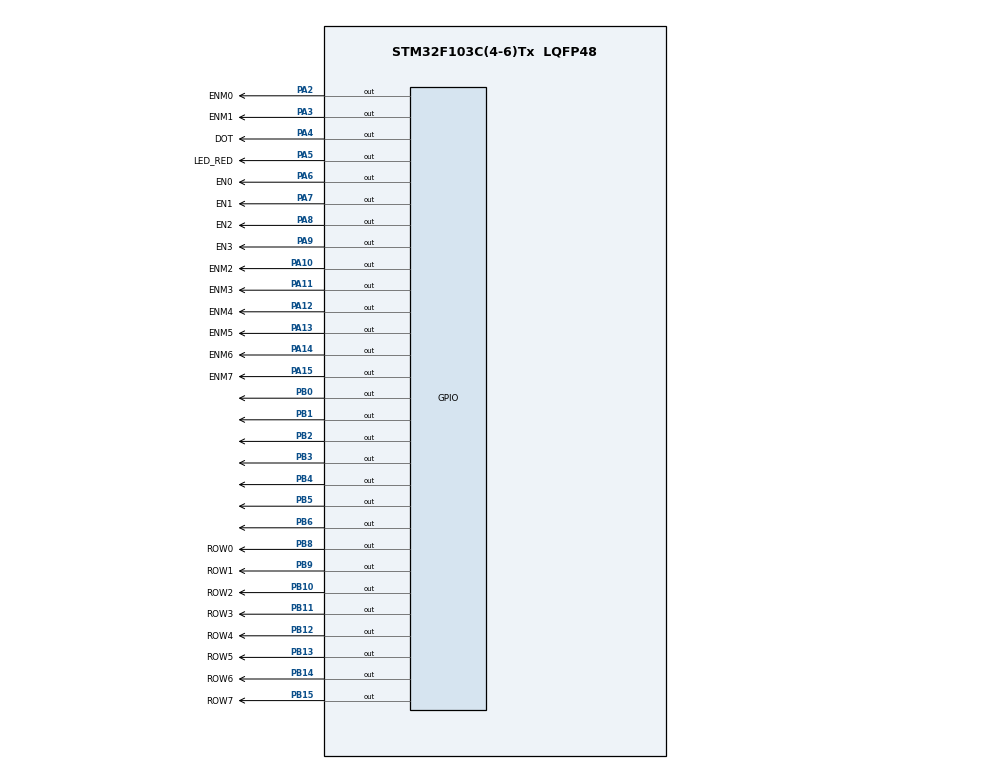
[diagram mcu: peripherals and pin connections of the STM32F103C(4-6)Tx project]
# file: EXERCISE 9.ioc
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Mcu.Family=STM32F1
Mcu.Name=STM32F103C(4-6)Tx
Mcu.Package=LQFP48
NVIC.PriorityGroup=NVIC_PRIORITYGROUP_4
NVIC.TIM2_IRQn=true\:0\:0\:false\:false\:true\:true\:true
PA10.GPIO_Label=ENM2
PA10.Signal=GPIO_Output
PA11.GPIO_Label=ENM3
PA11.Signal=GPIO_Output
PA12.GPIO_Label=ENM4
PA12.Signal=GPIO_Output
PA13.GPIO_Label=ENM5
PA13.Signal=GPIO_Output
PA14.GPIO_Label=ENM6
PA14.Signal=GPIO_Output
PA15.GPIO_Label=ENM7
PA15.Signal=GPIO_Output
PA2.GPIO_Label=ENM0
PA2.Signal=GPIO_Output
PA3.GPIO_Label=ENM1
PA3.Signal=GPIO_Output
PA4.GPIO_Label=DOT
PA4.Signal=GPIO_Output
PA5.GPIO_Label=LED_RED
PA5.Signal=GPIO_Output
PA6.GPIO_Label=EN0
PA6.Signal=GPIO_Output
PA7.GPIO_Label=EN1
PA7.Signal=GPIO_Output
PA8.GPIO_Label=EN2
PA8.Signal=GPIO_Output
PA9.GPIO_Label=EN3
PA9.Signal=GPIO_Output
PB0.Signal=GPIO_Output
PB1.Signal=GPIO_Output
PB10.GPIO_Label=ROW2
PB10.Signal=GPIO_Output
PB11.GPIO_Label=ROW3
PB11.Signal=GPIO_Output
PB12.GPIO_Label=ROW4
PB12.Signal=GPIO_Output
PB13.GPIO_Label=ROW5
PB13.Signal=GPIO_Output
PB14.GPIO_Label=ROW6
PB14.Signal=GPIO_Output
PB15.GPIO_Label=ROW7
PB15.Signal=GPIO_Output
PB2.Signal=GPIO_Output
PB3.Signal=GPIO_Output
PB4.Signal=GPIO_Output
PB5.Signal=GPIO_Output
PB6.Signal=GPIO_Output
PB8.GPIO_Label=ROW0
PB8.Signal=GPIO_Output
PB9.GPIO_Label=ROW1
PB9.Signal=GPIO_Output
ProjectManager.HeapSize=0x200
ProjectManager.StackSize=0x400
ProjectManager.TargetToolchain=STM32CubeIDE
RCC.APB1Freq_Value=8000000
RCC.APB2Freq_Value=8000000
TIM2.Period=9
TIM2.Prescaler=7999
VP_SYS_VS_ND.Mode=No_Debug
VP_TIM2_VS_ClockSourceINT.Mode=Internal
board=custom

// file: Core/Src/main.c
/* USER CODE BEGIN Header */
/**
  ******************************************************************************
  * @file           : main.c
  * @brief          : Main program body
  ******************************************************************************
  * @attention
  *
  * <h2><center>&copy; Copyright (c) 2023 STMicroelectronics.
  * All rights reserved.</center></h2>
  *
  * This software component is licensed by ST under BSD 3-Clause license,
  * the "License"; You may not use this file except in compliance with the
  * License. You may obtain a copy of the License at:
  *                        opensource.org/licenses/BSD-3-Clause
  *
  ******************************************************************************
  */
/* USER CODE END Header */
#include "main.h"
#include "software_timer.h"

TIM_HandleTypeDef htim2;

void SystemClock_Config(void);
static void MX_GPIO_Init(void);
static void MX_TIM2_Init(void);

int main(void)
{

  /* MCU Configuration--------------------------------------------------------*/

  /* Reset of all peripherals, Initializes the Flash interface and the Systick. */
  HAL_Init();

  /* Configure the system clock */
  SystemClock_Config();

  /* Initialize all configured peripherals */
  MX_GPIO_Init();
  MX_TIM2_Init();
  /* USER CODE BEGIN 2 */
  HAL_TIM_Base_Start_IT(&htim2);
  /* USER CODE END 2 */

  /* Infinite loop */
  /* USER CODE BEGIN WHILE */
  void display7SEG(int num){
  	HAL_GPIO_WritePin(GPIOB, GPIO_PIN_0 | GPIO_PIN_1 | GPIO_PIN_2 | GPIO_PIN_3 | GPIO_PIN_4 | GPIO_PIN_5 | GPIO_PIN_6, SET);
  	switch (num) {
  		case 0:
  			HAL_GPIO_WritePin(GPIOB, GPIO_PIN_0 | GPIO_PIN_1 | GPIO_PIN_2 | GPIO_PIN_3 | GPIO_PIN_4 | GPIO_PIN_5, RESET);
  			break;
  		case 1:
  			HAL_GPIO_WritePin(GPIOB, GPIO_PIN_1 | GPIO_PIN_2, RESET);
  			break;
  		case 2:
  			HAL_GPIO_WritePin(GPIOB, GPIO_PIN_0 | GPIO_PIN_1 | GPIO_PIN_3 | GPIO_PIN_4 | GPIO_PIN_6, RESET);
  			break;
  		case 3:
  			HAL_GPIO_WritePin(GPIOB, GPIO_PIN_0 | GPIO_PIN_1 | GPIO_PIN_2 | GPIO_PIN_3 | GPIO_PIN_6, RESET);
  			break;
  		case 4:
  			HAL_GPIO_WritePin(GPIOB, GPIO_PIN_1 | GPIO_PIN_2 | GPIO_PIN_5 | GPIO_PIN_6, RESET);
  			break;
  		case 5:
  			HAL_GPIO_WritePin(GPIOB, GPIO_PIN_0 | GPIO_PIN_2 | GPIO_PIN_3 | GPIO_PIN_5 | GPIO_PIN_6, RESET);
  			break;
  		case 6:
  			HAL_GPIO_WritePin(GPIOB, GPIO_PIN_0 | GPIO_PIN_2 | GPIO_PIN_3 | GPIO_PIN_4 | GPIO_PIN_5 | GPIO_PIN_6, RESET);
  			break;
  		case 7:
  			HAL_GPIO_WritePin(GPIOB, GPIO_PIN_0 | GPIO_PIN_1 | GPIO_PIN_2, RESET);
  			break;
  		case 8:
  			HAL_GPIO_WritePin(GPIOB, GPIO_PIN_0 | GPIO_PIN_1 | GPIO_PIN_2 | GPIO_PIN_3 | GPIO_PIN_4 | GPIO_PIN_5 | GPIO_PIN_6, RESET);
  			break;
  		case 9:
  			HAL_GPIO_WritePin(GPIOB, GPIO_PIN_0 | GPIO_PIN_1 | GPIO_PIN_2 | GPIO_PIN_3 | GPIO_PIN_5 | GPIO_PIN_6, RESET);
  			break;
  	}
  }

  void clear(){
  	HAL_GPIO_WritePin(LED_RED_GPIO_Port, LED_RED_Pin, SET);
  	HAL_GPIO_WritePin(GPIOA, DOT_Pin, SET);
  	HAL_GPIO_WritePin(GPIOA, EN0_Pin | EN1_Pin | EN2_Pin | EN3_Pin , SET);
  	HAL_GPIO_WritePin(GPIOB, GPIO_PIN_All, SET);
  }

  int led_buffer[4] = {1 , 2 , 3 , 4};

  void update7SEG ( int index ) {
  	switch ( index ) {
  		case 0:
  			// Display the first 7 SEG with led_buffer [0]
  			HAL_GPIO_WritePin(GPIOA, EN1_Pin|EN2_Pin|EN3_Pin, GPIO_PIN_SET);
  			display7SEG(led_buffer[0]);
  			HAL_GPIO_WritePin(GPIOA, EN0_Pin, GPIO_PIN_RESET);
  			break ;
  		case 1:
  			// Display the second 7 SEG with led_buffer [1]
  			HAL_GPIO_WritePin(GPIOA, EN0_Pin|EN2_Pin|EN3_Pin, GPIO_PIN_SET);
  			display7SEG(led_buffer[1]);
  			HAL_GPIO_WritePin(GPIOA, EN1_Pin, GPIO_PIN_RESET);
  			break ;
  		case 2:
  			// Display the third 7 SEG with led_buffer [2]
  			HAL_GPIO_WritePin(GPIOA, EN1_Pin|EN0_Pin|EN3_Pin, GPIO_PIN_SET);
  			display7SEG(led_buffer[2]);
  			HAL_GPIO_WritePin(GPIOA, EN2_Pin, GPIO_PIN_RESET);
  			break ;
  		case 3:
  			// Display the forth 7 SEG with led_buffer [3]
  			HAL_GPIO_WritePin(GPIOA, EN1_Pin|EN2_Pin|EN0_Pin, GPIO_PIN_SET);
  			display7SEG(led_buffer[3]);
  			HAL_GPIO_WritePin(GPIOA, EN3_Pin, GPIO_PIN_RESET);
  			break ;
  		default :
  			break ;
  	}
  }
  int hour = 15, minute = 8, second = 50;
  void updateClockBuffer(){
	  led_buffer[0] = hour/10;
	  led_buffer[1] = hour%10;
	  led_buffer[2] = minute/10;
	  led_buffer[3] = minute%10;
  }
  int index_led_matrix = 0;
  uint8_t matrix_buffer[8] = {0x00, 0xFC, 0xFE, 0x33, 0x33, 0xfE, 0xFC, 0x00};
  void displayLEDMatrix(uint8_t input){
  	HAL_GPIO_WritePin(ROW0_GPIO_Port, ROW0_Pin, !(input >> 0 & 0x1));
  	HAL_GPIO_WritePin(ROW1_GPIO_Port, ROW1_Pin, !(input >> 1 & 0x1));
  	HAL_GPIO_WritePin(ROW2_GPIO_Port, ROW2_Pin, !(input >> 2 & 0x1));
  	HAL_GPIO_WritePin(ROW3_GPIO_Port, ROW3_Pin, !(input >> 3 & 0x1));
  	HAL_GPIO_WritePin(ROW4_GPIO_Port, ROW4_Pin, !(input >> 4 & 0x1));
  	HAL_GPIO_WritePin(ROW5_GPIO_Port, ROW5_Pin, !(input >> 5 & 0x1));
  	HAL_GPIO_WritePin(ROW6_GPIO_Port, ROW6_Pin, !(input >> 6 & 0x1));
  	HAL_GPIO_WritePin(ROW7_GPIO_Port, ROW7_Pin, !(input >> 7 & 0x1));
  }

  void updateLEDMatrix(int index){
      switch (index){
      	// each case corresponds to a column of its value, with RESET means that column is turned on.
          case 0:
          	HAL_GPIO_WritePin(ENM0_GPIO_Port, ENM0_Pin, GPIO_PIN_RESET);
          	HAL_GPIO_WritePin(ENM1_GPIO_Port, ENM1_Pin, GPIO_PIN_SET);
          	HAL_GPIO_WritePin(ENM2_GPIO_Port, ENM2_Pin, GPIO_PIN_SET);
          	HAL_GPIO_WritePin(ENM3_GPIO_Port, ENM3_Pin, GPIO_PIN_SET);
          	HAL_GPIO_WritePin(ENM4_GPIO_Port, ENM4_Pin, GPIO_PIN_SET);
          	HAL_GPIO_WritePin(ENM5_GPIO_Port, ENM5_Pin, GPIO_PIN_SET);
          	HAL_GPIO_WritePin(ENM6_GPIO_Port, ENM6_Pin, GPIO_PIN_SET);
          	HAL_GPIO_WritePin(ENM7_GPIO_Port, ENM7_Pin, GPIO_PIN_SET);
          	displayLEDMatrix(matrix_buffer[index]);
              break;
          case 1:
          	HAL_GPIO_WritePin(ENM0_GPIO_Port, ENM0_Pin, GPIO_PIN_SET);
          	HAL_GPIO_WritePin(ENM1_GPIO_Port, ENM1_Pin, GPIO_PIN_RESET);
          	HAL_GPIO_WritePin(ENM2_GPIO_Port, ENM2_Pin, GPIO_PIN_SET);
          	HAL_GPIO_WritePin(ENM3_GPIO_Port, ENM3_Pin, GPIO_PIN_SET);
          	HAL_GPIO_WritePin(ENM4_GPIO_Port, ENM4_Pin, GPIO_PIN_SET);
          	HAL_GPIO_WritePin(ENM5_GPIO_Port, ENM5_Pin, GPIO_PIN_SET);
          	HAL_GPIO_WritePin(ENM6_GPIO_Port, ENM6_Pin, GPIO_PIN_SET);
          	HAL_GPIO_WritePin(ENM7_GPIO_Port, ENM7_Pin, GPIO_PIN_SET);
          	displayLEDMatrix(matrix_buffer[index]);
              break;
          case 2:
          	HAL_GPIO_WritePin(ENM0_GPIO_Port, ENM0_Pin, GPIO_PIN_SET);
          	HAL_GPIO_WritePin(ENM1_GPIO_Port, ENM1_Pin, GPIO_PIN_SET);
          	HAL_GPIO_WritePin(ENM2_GPIO_Port, ENM2_Pin, GPIO_PIN_RESET);
          	HAL_GPIO_WritePin(ENM3_GPIO_Port, ENM3_Pin, GPIO_PIN_SET);
          	HAL_GPIO_WritePin(ENM4_GPIO_Port, ENM4_Pin, GPIO_PIN_SET);
          	HAL_GPIO_WritePin(ENM5_GPIO_Port, ENM5_Pin, GPIO_PIN_SET);
          	HAL_GPIO_WritePin(ENM6_GPIO_Port, ENM6_Pin, GPIO_PIN_SET);
          	HAL_GPIO_WritePin(ENM7_GPIO_Port, ENM7_Pin, GPIO_PIN_SET);
          	displayLEDMatrix(matrix_buffer[index]);
              break;
          case 3:
          	HAL_GPIO_WritePin(ENM0_GPIO_Port, ENM0_Pin, GPIO_PIN_SET);
          	HAL_GPIO_WritePin(ENM1_GPIO_Port, ENM1_Pin, GPIO_PIN_SET);
          	HAL_GPIO_WritePin(ENM2_GPIO_Port, ENM2_Pin, GPIO_PIN_SET);
          	HAL_GPIO_WritePin(ENM3_GPIO_Port, ENM3_Pin, GPIO_PIN_RESET);
          	HAL_GPIO_WritePin(ENM4_GPIO_Port, ENM4_Pin, GPIO_PIN_SET);
          	HAL_GPIO_WritePin(ENM5_GPIO_Port, ENM5_Pin, GPIO_PIN_SET);
          	HAL_GPIO_WritePin(ENM6_GPIO_Port, ENM6_Pin, GPIO_PIN_SET);
          	HAL_GPIO_WritePin(ENM7_GPIO_Port, ENM7_Pin, GPIO_PIN_SET);
          	displayLEDMatrix(matrix_buffer[index]);
              break;
          case 4:
          	HAL_GPIO_WritePin(ENM0_GPIO_Port, ENM0_Pin, GPIO_PIN_SET);
          	HAL_GPIO_WritePin(ENM1_GPIO_Port, ENM1_Pin, GPIO_PIN_SET);
          	HAL_GPIO_WritePin(ENM2_GPIO_Port, ENM2_Pin, GPIO_PIN_SET);
          	HAL_GPIO_WritePin(ENM3_GPIO_Port, ENM3_Pin, GPIO_PIN_SET);
          	HAL_GPIO_WritePin(ENM4_GPIO_Port, ENM4_Pin, GPIO_PIN_RESET);
          	HAL_GPIO_WritePin(ENM5_GPIO_Port, ENM5_Pin, GPIO_PIN_SET);
          	HAL_GPIO_WritePin(ENM6_GPIO_Port, ENM6_Pin, GPIO_PIN_SET);
          	HAL_GPIO_WritePin(ENM7_GPIO_Port, ENM7_Pin, GPIO_PIN_SET);
          	displayLEDMatrix(matrix_buffer[index]);
              break;
          case 5:
          	HAL_GPIO_WritePin(ENM0_GPIO_Port, ENM0_Pin, GPIO_PIN_SET);
          	HAL_GPIO_WritePin(ENM1_GPIO_Port, ENM1_Pin, GPIO_PIN_SET);
          	HAL_GPIO_WritePin(ENM2_GPIO_Port, ENM2_Pin, GPIO_PIN_SET);
          	HAL_GPIO_WritePin(ENM3_GPIO_Port, ENM3_Pin, GPIO_PIN_SET);
          	HAL_GPIO_WritePin(ENM4_GPIO_Port, ENM4_Pin, GPIO_PIN_SET);
          	HAL_GPIO_WritePin(ENM5_GPIO_Port, ENM5_Pin, GPIO_PIN_RESET);
          	HAL_GPIO_WritePin(ENM6_GPIO_Port, ENM6_Pin, GPIO_PIN_SET);
          	HAL_GPIO_WritePin(ENM7_GPIO_Port, ENM7_Pin, GPIO_PIN_SET);
          	displayLEDMatrix(matrix_buffer[index]);
              break;
          case 6:
          	HAL_GPIO_WritePin(ENM0_GPIO_Port, ENM0_Pin, GPIO_PIN_SET);
          	HAL_GPIO_WritePin(ENM1_GPIO_Port, ENM1_Pin, GPIO_PIN_SET);
          	HAL_GPIO_WritePin(ENM2_GPIO_Port, ENM2_Pin, GPIO_PIN_SET);
          	HAL_GPIO_WritePin(ENM3_GPIO_Port, ENM3_Pin, GPIO_PIN_SET);
          	HAL_GPIO_WritePin(ENM4_GPIO_Port, ENM4_Pin, GPIO_PIN_SET);
          	HAL_GPIO_WritePin(ENM5_GPIO_Port, ENM5_Pin, GPIO_PIN_SET);
          	HAL_GPIO_WritePin(ENM6_GPIO_Port, ENM6_Pin, GPIO_PIN_RESET);
          	HAL_GPIO_WritePin(ENM7_GPIO_Port, ENM7_Pin, GPIO_PIN_SET);
          	displayLEDMatrix(matrix_buffer[index]);
              break;
          case 7:
          	HAL_GPIO_WritePin(ENM0_GPIO_Port, ENM0_Pin, GPIO_PIN_SET);
          	HAL_GPIO_WritePin(ENM1_GPIO_Port, ENM1_Pin, GPIO_PIN_SET);
          	HAL_GPIO_WritePin(ENM2_GPIO_Port, ENM2_Pin, GPIO_PIN_SET);
          	HAL_GPIO_WritePin(ENM3_GPIO_Port, ENM3_Pin, GPIO_PIN_SET);
          	HAL_GPIO_WritePin(ENM4_GPIO_Port, ENM4_Pin, GPIO_PIN_SET);
          	HAL_GPIO_WritePin(ENM5_GPIO_Port, ENM5_Pin, GPIO_PIN_SET);
          	HAL_GPIO_WritePin(ENM6_GPIO_Port, ENM6_Pin, GPIO_PIN_SET);
          	HAL_GPIO_WritePin(ENM7_GPIO_Port, ENM7_Pin, GPIO_PIN_RESET);
          	displayLEDMatrix(matrix_buffer[index]);
              break;
          default:
              break;
      }
  }

  void clearENM(){
  	 HAL_GPIO_WritePin(GPIOA, ENM0_Pin|ENM1_Pin
  	                          |ENM2_Pin|ENM3_Pin|ENM4_Pin|ENM5_Pin
  	                          |ENM6_Pin|ENM7_Pin, GPIO_PIN_SET);
  }

  setTimer1(100);
  setTimer2(25);
  setTimer3(50);
  setTimer4(50);
  int index = 0;
  clear();
  while (1)
  {
    /* USER CODE END WHILE */
	  if (timer1_flag == 1){
		  setTimer1(100);
		  HAL_GPIO_TogglePin(GPIOA, LED_RED_Pin);
		  second++;
		  if(second >= 60) {
			  second = 0;
			  minute++;
		  }
		  if(minute >= 60) {
			  minute = 0;
			  hour++;
		  }
		  if(hour >= 24) {
			  hour = 0;
		  }
	  }
	  if (timer3_flag == 1){
		  setTimer3(100);
		  HAL_GPIO_TogglePin(GPIOA, DOT_Pin);
	  }
	  if (timer2_flag == 1){
		  updateClockBuffer();
		  setTimer2(25);
		  if (index == 4) index = 0;
		  update7SEG(index);
		  index = index + 1;
	  }
	  if (timer4_flag == 1){
		  if(index_led_matrix > 7) index_led_matrix = 0;
		  setTimer4(10);
		  clearENM();
		  updateLEDMatrix(index_led_matrix++);
	  }
  }
}

void SystemClock_Config(void)
{
  RCC_OscInitTypeDef RCC_OscInitStruct = {0};
  RCC_ClkInitTypeDef RCC_ClkInitStruct = {0};

  /** Initializes the RCC Oscillators according to the specified parameters
  * in the RCC_OscInitTypeDef structure.
  */
  RCC_OscInitStruct.OscillatorType = RCC_OSCILLATORTYPE_HSI;
  RCC_OscInitStruct.HSIState = RCC_HSI_ON;
  RCC_OscInitStruct.HSICalibrationValue = RCC_HSICALIBRATION_DEFAULT;
  RCC_OscInitStruct.PLL.PLLState = RCC_PLL_NONE;
  if (HAL_RCC_OscConfig(&RCC_OscInitStruct) != HAL_OK)
  {
    Error_Handler();
  }
  /** Initializes the CPU, AHB and APB buses clocks
  */
  RCC_ClkInitStruct.ClockType = RCC_CLOCKTYPE_HCLK|RCC_CLOCKTYPE_SYSCLK
                              |RCC_CLOCKTYPE_PCLK1|RCC_CLOCKTYPE_PCLK2;
  RCC_ClkInitStruct.SYSCLKSource = RCC_SYSCLKSOURCE_HSI;
  RCC_ClkInitStruct.AHBCLKDivider = RCC_SYSCLK_DIV1;
  RCC_ClkInitStruct.APB1CLKDivider = RCC_HCLK_DIV1;
  RCC_ClkInitStruct.APB2CLKDivider = RCC_HCLK_DIV1;

  if (HAL_RCC_ClockConfig(&RCC_ClkInitStruct, FLASH_LATENCY_0) != HAL_OK)
  {
    Error_Handler();
  }
}

static void MX_TIM2_Init(void)
{

  TIM_ClockConfigTypeDef sClockSourceConfig = {0};
  TIM_MasterConfigTypeDef sMasterConfig = {0};

  htim2.Instance = TIM2;
  htim2.Init.Prescaler = 7999;
  htim2.Init.CounterMode = TIM_COUNTERMODE_UP;
  htim2.Init.Period = 9;
  htim2.Init.ClockDivision = TIM_CLOCKDIVISION_DIV1;
  htim2.Init.AutoReloadPreload = TIM_AUTORELOAD_PRELOAD_DISABLE;
  if (HAL_TIM_Base_Init(&htim2) != HAL_OK)
  {
    Error_Handler();
  }
  sClockSourceConfig.ClockSource = TIM_CLOCKSOURCE_INTERNAL;
  if (HAL_TIM_ConfigClockSource(&htim2, &sClockSourceConfig) != HAL_OK)
  {
    Error_Handler();
  }
  sMasterConfig.MasterOutputTrigger = TIM_TRGO_RESET;
  sMasterConfig.MasterSlaveMode = TIM_MASTERSLAVEMODE_DISABLE;
  if (HAL_TIMEx_MasterConfigSynchronization(&htim2, &sMasterConfig) != HAL_OK)
  {
    Error_Handler();
  }

}

static void MX_GPIO_Init(void)
{
  GPIO_InitTypeDef GPIO_InitStruct = {0};

  /* GPIO Ports Clock Enable */
  __HAL_RCC_GPIOA_CLK_ENABLE();
  __HAL_RCC_GPIOB_CLK_ENABLE();

  /*Configure GPIO pin Output Level */
  HAL_GPIO_WritePin(GPIOA, ENM0_Pin|ENM1_Pin|DOT_Pin|LED_RED_Pin
                          |EN0_Pin|EN1_Pin|EN2_Pin|EN3_Pin
                          |ENM2_Pin|ENM3_Pin|ENM4_Pin|ENM5_Pin
                          |ENM6_Pin|ENM7_Pin, GPIO_PIN_RESET);

  /*Configure GPIO pin Output Level */
  HAL_GPIO_WritePin(GPIOB, GPIO_PIN_0|GPIO_PIN_1|GPIO_PIN_2|ROW2_Pin
                          |ROW3_Pin|ROW4_Pin|ROW5_Pin|ROW6_Pin
                          |ROW7_Pin|GPIO_PIN_3|GPIO_PIN_4|GPIO_PIN_5
                          |GPIO_PIN_6|ROW0_Pin|ROW1_Pin, GPIO_PIN_RESET);

  /*Configure GPIO pins : ENM0_Pin ENM1_Pin DOT_Pin LED_RED_Pin
                           EN0_Pin EN1_Pin EN2_Pin EN3_Pin
                           ENM2_Pin ENM3_Pin ENM4_Pin ENM5_Pin
                           ENM6_Pin ENM7_Pin */
  GPIO_InitStruct.Pin = ENM0_Pin|ENM1_Pin|DOT_Pin|LED_RED_Pin
                          |EN0_Pin|EN1_Pin|EN2_Pin|EN3_Pin
                          |ENM2_Pin|ENM3_Pin|ENM4_Pin|ENM5_Pin
                          |ENM6_Pin|ENM7_Pin;
  GPIO_InitStruct.Mode = GPIO_MODE_OUTPUT_PP;
  GPIO_InitStruct.Pull = GPIO_NOPULL;
  GPIO_InitStruct.Speed = GPIO_SPEED_FREQ_LOW;
  HAL_GPIO_Init(GPIOA, &GPIO_InitStruct);

  /*Configure GPIO pins : PB0 PB1 PB2 ROW2_Pin
                           ROW3_Pin ROW4_Pin ROW5_Pin ROW6_Pin
                           ROW7_Pin PB3 PB4 PB5
                           PB6 ROW0_Pin ROW1_Pin */
  GPIO_InitStruct.Pin = GPIO_PIN_0|GPIO_PIN_1|GPIO_PIN_2|ROW2_Pin
                          |ROW3_Pin|ROW4_Pin|ROW5_Pin|ROW6_Pin
                          |ROW7_Pin|GPIO_PIN_3|GPIO_PIN_4|GPIO_PIN_5
                          |GPIO_PIN_6|ROW0_Pin|ROW1_Pin;
  GPIO_InitStruct.Mode = GPIO_MODE_OUTPUT_PP;
  GPIO_InitStruct.Pull = GPIO_NOPULL;
  GPIO_InitStruct.Speed = GPIO_SPEED_FREQ_LOW;
  HAL_GPIO_Init(GPIOB, &GPIO_InitStruct);

}

/* USER CODE BEGIN 4 */
void HAL_TIM_PeriodElapsedCallback(TIM_HandleTypeDef *htim){
	timerRun();
}
/* USER CODE END 4 */

void Error_Handler(void)
{
  __disable_irq();
  while (1)
  {
  }
}

/************************ (C) COPYRIGHT STMicroelectronics *****END OF FILE****/
